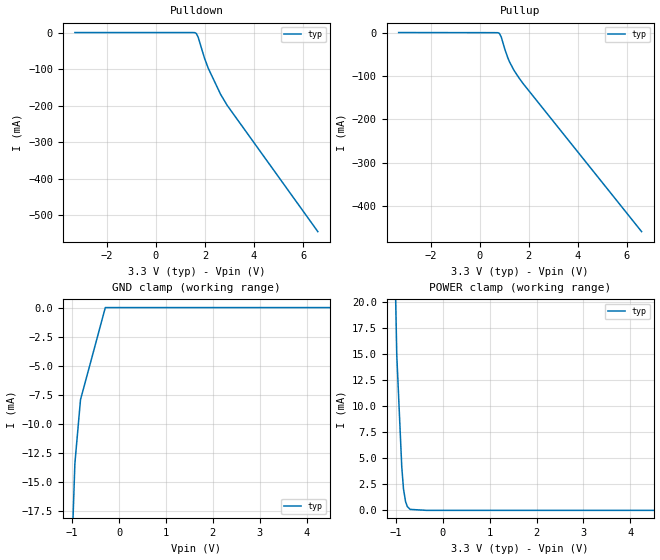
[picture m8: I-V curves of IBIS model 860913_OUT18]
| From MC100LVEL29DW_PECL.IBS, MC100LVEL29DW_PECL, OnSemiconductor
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[Model] 860913_OUT18
Model_type Output_ECL
Vref  = 1.300V
Rref  = 50.00ohms
Cref  = 0.000F
Vmeas = 2.00V
C_comp  600.0fF NA NA
| variable typ   min   max
[Voltage Range]   3.300V  NA  NA
[POWER Clamp Reference]  3.300V  NA  NA
[Pullup Reference]   3.300V  NA  NA
[Pulldown Reference]   3.300V  NA  NA
[GND Clamp Reference]   0.000V  NA  NA
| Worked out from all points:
|   POWER clamp passes 1 mA (typ) near -0.80 V on its own axis
[GND Clamp]
-3.3V     -294.7mA   NA         NA
-941.9mV  -13.4mA    NA         NA
-821.9mV  -7.912mA   NA         NA
-585.7mV  -4.389mA   NA         NA
-292.8mV  0A         NA         NA
6.6V      0A         NA         NA
[Pulldown]
-3.3V     26.71uA    NA         NA
1.45V     10.56uA    NA         NA
1.553V    -77.16uA   NA         NA
1.591V    -510.7uA   NA         NA
1.611V    -993.8uA   NA         NA
1.649V    -2.919mA   NA         NA
1.721V    -12.38mA   NA         NA
1.978V    -69.44mA   NA         NA
2.13V     -97.13mA   NA         NA
2.637V    -169mA     NA         NA
2.904V    -199mA     NA         NA
6.6V      -544.4mA   NA         NA
[Pullup]
-3.3V     279.8uA    NA         NA
711mV     -24.26uA   NA         NA
805mV     -1.909mA   NA         NA
880mV     -9.86mA    NA         NA
1.026V    -38.25mA   NA         NA
1.216V    -67.27mA   NA         NA
1.396V    -86.69mA   NA         NA
1.599V    -104.2mA   NA         NA
6.6V      -459.4mA   NA         NA
[POWER Clamp]
-3.3V     936.3mA    NA         NA
-1.177V   77.64mA    NA         NA
-1.016V   22.65mA    NA         NA
-982mV    14.98mA    NA         NA
-875mV    4.174mA    NA         NA
-838mV    2.051mA    NA         NA
-795mV    857.4uA    NA         NA
-756mV    359.5uA    NA         NA
-697mV    94.01uA    NA         NA
-348.5mV  0A         NA         NA
6.6V      0A         NA         NA
[Ramp]
| variable typ min max
dV/dt_r 442.6m/415.1p NA NA
dV/dt_f 442.6m/385.9p NA NA
R_load = 50.00Ohms
